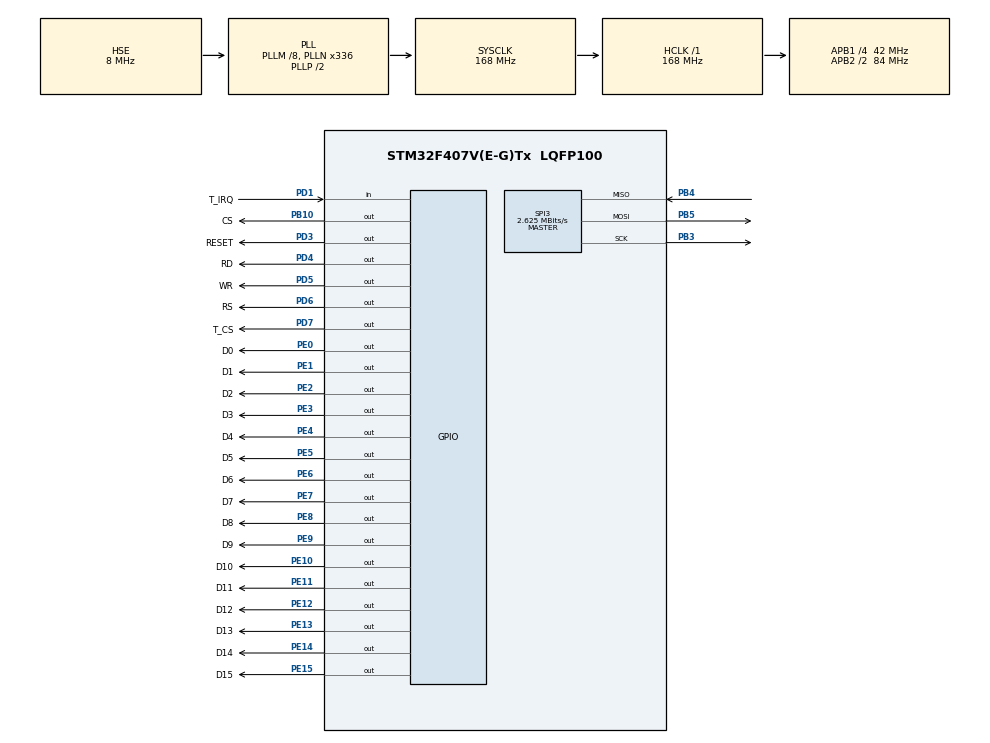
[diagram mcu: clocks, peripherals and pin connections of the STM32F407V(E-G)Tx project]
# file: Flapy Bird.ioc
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Mcu.Family=STM32F4
Mcu.Name=STM32F407V(E-G)Tx
Mcu.Package=LQFP100
NVIC.PriorityGroup=NVIC_PRIORITYGROUP_0
PB10.GPIO_Label=CS
PB10.GPIO_Speed=GPIO_SPEED_FREQ_VERY_HIGH
PB10.PinState=GPIO_PIN_SET
PB10.Signal=GPIO_Output
PB3.Mode=Full_Duplex_Master
PB3.Signal=SPI3_SCK
PB4.Mode=Full_Duplex_Master
PB4.Signal=SPI3_MISO
PB5.Mode=Full_Duplex_Master
PB5.Signal=SPI3_MOSI
PD1.GPIO_Label=T_IRQ
PD1.Signal=GPIO_Input
PD3.GPIO_Label=RESET
PD3.GPIO_Speed=GPIO_SPEED_FREQ_VERY_HIGH
PD3.PinState=GPIO_PIN_SET
PD3.Signal=GPIO_Output
PD4.GPIO_Label=RD
PD4.GPIO_Speed=GPIO_SPEED_FREQ_VERY_HIGH
PD4.PinState=GPIO_PIN_SET
PD4.Signal=GPIO_Output
PD5.GPIO_Label=WR
PD5.GPIO_Speed=GPIO_SPEED_FREQ_VERY_HIGH
PD5.PinState=GPIO_PIN_SET
PD5.Signal=GPIO_Output
PD6.GPIO_Label=RS
PD6.GPIO_Speed=GPIO_SPEED_FREQ_VERY_HIGH
PD6.PinState=GPIO_PIN_SET
PD6.Signal=GPIO_Output
PD7.GPIO_Label=T_CS
PD7.GPIO_Speed=GPIO_SPEED_FREQ_VERY_HIGH
PD7.PinState=GPIO_PIN_SET
PD7.Signal=GPIO_Output
PE0.GPIO_Label=D0
PE0.GPIO_Speed=GPIO_SPEED_FREQ_VERY_HIGH
PE0.PinState=GPIO_PIN_SET
PE0.Signal=GPIO_Output
PE1.GPIO_Label=D1
PE1.GPIO_Speed=GPIO_SPEED_FREQ_VERY_HIGH
PE1.PinState=GPIO_PIN_SET
PE1.Signal=GPIO_Output
PE10.GPIO_Label=D10
PE10.GPIO_Speed=GPIO_SPEED_FREQ_VERY_HIGH
PE10.PinState=GPIO_PIN_SET
PE10.Signal=GPIO_Output
PE11.GPIO_Label=D11
PE11.GPIO_Speed=GPIO_SPEED_FREQ_VERY_HIGH
PE11.PinState=GPIO_PIN_SET
PE11.Signal=GPIO_Output
PE12.GPIO_Label=D12
PE12.GPIO_Speed=GPIO_SPEED_FREQ_VERY_HIGH
PE12.PinState=GPIO_PIN_SET
PE12.Signal=GPIO_Output
PE13.GPIO_Label=D13
PE13.GPIO_Speed=GPIO_SPEED_FREQ_VERY_HIGH
PE13.PinState=GPIO_PIN_SET
PE13.Signal=GPIO_Output
PE14.GPIO_Label=D14
PE14.GPIO_Speed=GPIO_SPEED_FREQ_VERY_HIGH
PE14.PinState=GPIO_PIN_SET
PE14.Signal=GPIO_Output
PE15.GPIO_Label=D15
PE15.GPIO_Speed=GPIO_SPEED_FREQ_VERY_HIGH
PE15.PinState=GPIO_PIN_SET
PE15.Signal=GPIO_Output
PE2.GPIO_Label=D2
PE2.GPIO_Speed=GPIO_SPEED_FREQ_VERY_HIGH
PE2.PinState=GPIO_PIN_SET
PE2.Signal=GPIO_Output
PE3.GPIO_Label=D3
PE3.GPIO_Speed=GPIO_SPEED_FREQ_VERY_HIGH
PE3.PinState=GPIO_PIN_SET
PE3.Signal=GPIO_Output
PE4.GPIO_Label=D4
PE4.GPIO_Speed=GPIO_SPEED_FREQ_VERY_HIGH
PE4.PinState=GPIO_PIN_SET
PE4.Signal=GPIO_Output
PE5.GPIO_Label=D5
PE5.GPIO_Speed=GPIO_SPEED_FREQ_VERY_HIGH
PE5.PinState=GPIO_PIN_SET
PE5.Signal=GPIO_Output
PE6.GPIO_Label=D6
PE6.GPIO_Speed=GPIO_SPEED_FREQ_VERY_HIGH
PE6.PinState=GPIO_PIN_SET
PE6.Signal=GPIO_Output
PE7.GPIO_Label=D7
PE7.GPIO_Speed=GPIO_SPEED_FREQ_VERY_HIGH
PE7.PinState=GPIO_PIN_SET
PE7.Signal=GPIO_Output
PE8.GPIO_Label=D8
PE8.GPIO_Speed=GPIO_SPEED_FREQ_VERY_HIGH
PE8.PinState=GPIO_PIN_SET
PE8.Signal=GPIO_Output
PE9.GPIO_Label=D9
PE9.GPIO_Speed=GPIO_SPEED_FREQ_VERY_HIGH
PE9.PinState=GPIO_PIN_SET
PE9.Signal=GPIO_Output
PH0-OSC_IN.Mode=HSE-External-Oscillator
PH0-OSC_IN.Signal=RCC_OSC_IN
PH1-OSC_OUT.Mode=HSE-External-Oscillator
PH1-OSC_OUT.Signal=RCC_OSC_OUT
ProjectManager.HeapSize=0x200
ProjectManager.StackSize=0x400
ProjectManager.TargetToolchain=STM32CubeIDE
RCC.48MHZClocksFreq_Value=48000000
RCC.AHBFreq_Value=168000000
RCC.APB1CLKDivider=RCC_HCLK_DIV4
RCC.APB1Freq_Value=42000000
RCC.APB1TimFreq_Value=84000000
RCC.APB2CLKDivider=RCC_HCLK_DIV2
RCC.APB2Freq_Value=84000000
RCC.APB2TimFreq_Value=168000000
RCC.CortexFreq_Value=168000000
RCC.HCLKFreq_Value=168000000
RCC.HSE_VALUE=8000000
RCC.HSI_VALUE=16000000
RCC.PLLM=8
RCC.PLLN=336
RCC.PLLQ=7
RCC.PLLSourceVirtual=RCC_PLLSOURCE_HSE
RCC.SYSCLKFreq_VALUE=168000000
RCC.SYSCLKSource=RCC_SYSCLKSOURCE_PLLCLK
RCC.VCOOutputFreq_Value=336000000
SPI3.BaudRatePrescaler=SPI_BAUDRATEPRESCALER_16
SPI3.CalculateBaudRate=2.625 MBits/s
SPI3.Direction=SPI_DIRECTION_2LINES
SPI3.Mode=SPI_MODE_MASTER
SPI3.VirtualType=VM_MASTER
board=STM32F407G-DISC1

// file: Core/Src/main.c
/* USER CODE BEGIN Header */
/**
  ******************************************************************************
  * @file           : main.c
  * @brief          : Main program body
  ******************************************************************************
  * @attention
  *
  * Copyright (c) 2022 STMicroelectronics.
  * All rights reserved.
  *
  * This software is licensed under terms that can be found in the LICENSE file
  * in the root directory of this software component.
  * If no LICENSE file comes with this software, it is provided AS-IS.
  *
  ******************************************************************************
  */
/* USER CODE END Header */
#include "main.h"

/* USER CODE BEGIN Includes */
#include "image.h"
#include "line.h"
#include "button.h"
#include "stm32f4xx_hal.h"
#include "xpt2046.h"
#include "ssd1289.h"
#include "stdlib.h"

#define WIDTH_PILL		40 	  /*Chieu rong ong khoi*/

#define HIDDENT			50	  /*Phan ong khoi bi an ben trai*/

#define HEIGH_SCREEN 	215	  /*Chieu cao man hinh hien thi chim*/

#define DISTANCE		60		/*Khoang cach giua hai ong khoi*/

#define YES				1
#define NO				0

#define WIDTH_BIRD		26	/*Chieu rong cua hinh chim*/
#define HEIGH_BIRD 	 	19	/*Chieu cao cua hinh chim*/

#define WIDTH_LINE		320
#define HEIGH_LINE		5

#define BIRD_X			110		/*toa do X cua chim*/
#define BIRD_Y			100

#define X_COM       	136

#define FALLING			0		/* Bay xuong */
#define RISING			1		/* Bay len	*/

#define X_SCORE			75
#define Y_SCORE			223
#define X_H_SCORE		180

#define X_GAME_OVER		90
#define Y_GAME_OVER		40

#define X_GAME_SCORE	95
#define Y_GAME_SCORE	70

#define X_SOCRE_END		165
#define SCORED			69

#define X_BUT			140
#define Y_BUT			100

SPI_HandleTypeDef hspi3;

uint16_t list_heigh[15];
/* USER CODE END Includes */

SPI_HandleTypeDef hspi3;

void SystemClock_Config(void);
static void MX_GPIO_Init(void);
static void MX_SPI3_Init(void);
/* USER CODE BEGIN PFP */
void Init_Game();
void Draw_Pillar(int16_t x, uint16_t heigh);
void Init_Heigh_Pill();
void Bird_Fly(uint16_t y);
void Convert_To_String(uint16_t val);
void Print_Score(uint16_t, uint16_t x_score, uint16_t color);
void Game_Over();
int Button_Press(uint16_t x, uint16_t y, uint16_t width, uint16_t heigh);
void Welcome();
void Click_Here();
uint16_t score = 0; /*Diem so*/
uint16_t high_score = 0;

int16_t x1 = 0, x2 = 0;	/*Toa do x cua 2 ong khoi xuat hien tren man hinh*/

uint16_t heigh_pill1 = 0;	/*Chieu cao ong khoi khi bat day game*/
uint16_t heigh_pill2 = 0;

int16_t y_bird = 0;

uint16_t x_com = 0;
uint16_t h_com = 0;
/* USER CODE END PFP */

int main(void)
{

  /* MCU Configuration--------------------------------------------------------*/

  /* Reset of all peripherals, Initializes the Flash interface and the Systick. */
  HAL_Init();

  /* Configure the system clock */
  SystemClock_Config();

  /* Initialize all configured peripherals */
  MX_GPIO_Init();
  MX_SPI3_Init();
  /* USER CODE BEGIN 2 */
  SSD1289_Init();
  SSD1289_Clear_Screen();

//  Init_Game(); /*Khoi tao game*/

  Welcome();

  int c = 0;
  int score_old = 0;
  int game_over=NO;

  while (1)
  {
	  if(!Read_IRQ()){
		  if((game_over==NO)||Button_Press(X_BUT, Y_BUT, BUT_WIDTH, BUT_HEIGH)){
		  	  score_old = score;
		  	  c = 0;
			  Init_Game();

			  if(score_old > high_score){
			  		high_score = score_old;
			  		Print_Score(high_score, 300, Hscolor);
			  }
			  while(1){
					  if(x1 == 70){	/*Neu ong khoi 1 di qua toa to 110 thi tao ong khoi 2*/
						  x2 = 320;
						  heigh_pill2 = list_heigh[rand()%15];
					  }
					  if(x2 == 70){   /*Neu ong khoi di qua toa do 110 thi tao them ong khoi*/
						  x1 = 320;
						  heigh_pill1 = list_heigh[rand()%15];
					  }

					  /*Ve ong khoi*/
					  Draw_Pillar(x1, heigh_pill1);
					  Draw_Pillar(x2, heigh_pill2);

					  if(!Read_IRQ()){	/*Neu co tin hieu cam ung*/
						  y_bird -= 5;
						  c = 1;
					  }
					  else if(c){	// Neu chua cham lan nao thi chim van dung yen
						  y_bird += 2;
					  }

					  if(x1 > 70){
						  x_com = x1;
						  h_com = heigh_pill1-1;
					  }
					  else{
						  x_com = x2;
						  h_com = heigh_pill2-1;
					  }
					  if(((x_com==X_COM)&&((y_bird<=h_com)||(y_bird+HEIGH_BIRD>=(h_com+DISTANCE))))||
						((y_bird<=h_com+1)&&( ((X_COM>=x_com)&&
						(X_COM <= (x_com+WIDTH_PILL)))||((BIRD_X>=x_com)&&(BIRD_X<=(x_com+WIDTH_PILL)))))||
						(((y_bird+HEIGH_BIRD)>=(h_com+DISTANCE))&&
						(((X_COM>=x_com)&&(X_COM <= (x_com+WIDTH_PILL)))||((BIRD_X>=x_com)&&
						(BIRD_X<=(x_com+WIDTH_PILL)))))||
						  ((y_bird+HEIGH_BIRD)>=HEIGH_SCREEN)){

						  game_over = YES;
						  Game_Over();
						  break;
					  }

					  if(x1 == SCORED || x2 == SCORED){
						  score += 1;
						  Print_Score(score, X_SCORE, Blue);
					  }

					  if(c){
						  Bird_Fly(y_bird);
						  x1--;
						  x2--;
					  }
					  HAL_Delay(10);
			  }
	  	  }
		}
  	  }

}

void Init_Heigh_Pill(){
	int i =0;
	int value = 0;
	for(i=0; i<15; i++){
		list_heigh[i] = 150-value;
		value += 10;
	}

}

void Welcome(){
	SSD1289_Write_Back_Ground(Black);
	SSD1289_Print_String(50, 40, 2, 1, 4, White, Black, "Flapy Bird");
	SSD1289_Print_String(40, 185, 1, 1, 2, White, Black, "Click to enter the game!");
}
void Draw_Pillar(int16_t x, uint16_t heigh){
	if(x < 321){
	/*Xoa ong khoi cu*/
		int16_t x1 = x+WIDTH_PILL+1;

		SSD1289_Draw_V_Line(x1, 1, heigh, Background);				/*Xoa ong khoi top*/
		SSD1289_Draw_V_Line(x1, 1+heigh+DISTANCE, HEIGH_SCREEN, Background);   /*Xoa ong khoi bot*/

	/*Ve ong khoi moi*/
		SSD1289_Draw_V_Line(x, 1, heigh, Green);
		SSD1289_Draw_V_Line(x, 1+heigh+DISTANCE, HEIGH_SCREEN, Green);
	}
}

void Bird_Fly(uint16_t y){
	SSD1289_Fill_Color(BIRD_X, y-3, (BIRD_X+WIDTH_BIRD+5), (y+HEIGH_BIRD+5), Background);
	HAL_Delay(5);
	SSD1289_Write_Pic_Coor(BIRD_X, y, WIDTH_BIRD, HEIGH_BIRD, bird_image);
}

void Print_Score(uint16_t val, uint16_t x_score, uint16_t color){
	uint16_t a = 0, b = 0;
	char string[3] = {0, 0, '\0'};
	/*Xoa diem cu*/
	SSD1289_Fill_Color(x_score, Y_SCORE, x_score+20, 239, Yellow);
	if(val < 10){
		SSD1289_Print_Char(x_score, Y_SCORE, 2, color, Yellow, (val+48));
	}
	else{
		a = val%10 + 48;	/*Hang don vi*/
		b = val/10	+ 48;	/*Hang chuc*/
		string[0] = b;
		string[1] = a;
		SSD1289_Print_String(x_score, Y_SCORE, 1, 1, 2, color, Yellow, string);
	}

}

void Game_Over(){

	SSD1289_Fill_Color(X_GAME_OVER-40, Y_GAME_OVER-10, X_GAME_OVER+120, Y_GAME_OVER+70, Background);
	SSD1289_Print_String(X_GAME_OVER, Y_GAME_OVER, 2, 2, 3, Red, Background, "Game Over");
	SSD1289_Print_String(X_GAME_SCORE, Y_GAME_SCORE, 2, 2, 2, Red, Background, "Score: ");
	uint16_t a = 0, b = 0;
	char string[3] = {0, 0, '\0'};
	if(score < 10){
		SSD1289_Print_Char(X_SOCRE_END, Y_GAME_SCORE, 2, Red, Background, (score+48));
	}
	else{
		a = score%10 + 48;	/*Hang don vi*/
		b = score/10	+ 48;	/*Hang chuc*/
		string[0] = b;
		string[1] = a;
		SSD1289_Print_String(X_SOCRE_END, Y_GAME_SCORE, 2, 2, 2, Red, Background, string);
	}

	HAL_Delay(1500);
	SSD1289_Write_Pic_Coor(X_BUT, Y_BUT, BUT_WIDTH, BUT_HEIGH, button);
}

int Button_Press(uint16_t x, uint16_t y, uint16_t width, uint16_t heigh){
	uint16_t lcd_x = 0, lcd_y = 0;
	if(!Read_IRQ()){
		lcd_x = XPT2046_Calibrate(XPT2046_Read(cmd_X), 1);
		lcd_y = XPT2046_Calibrate(XPT2046_Read(cmd_Y), 0);

		if(((lcd_x>x)&&(lcd_x<(x+width)))&&((lcd_y>y)&&(lcd_y<(y+heigh))))
			return YES;
		else
			return NO;
	}
	return NO;
}

void Init_Game(){
	  Init_Heigh_Pill();
	  score = 0;
	  x1 = 320;
	  x2 = 600;	/*Toa do x cua 2 ong khoi xuat hien tren man hinh*/
	  heigh_pill1 = list_heigh[rand()%15];	/*Chieu cao ong khoi khi bat day game*/
	  heigh_pill2 = 100;
	  y_bird = BIRD_Y;
	  x_com = 320;
	  h_com = heigh_pill1;
	  SSD1289_Write_Back_Ground(Background);
	  SSD1289_Write_Pic_Coor(BIRD_X, BIRD_Y, WIDTH_BIRD, HEIGH_BIRD, bird_image);
	  SSD1289_Write_Pic_Coor(0, HEIGH_SCREEN, WIDTH_LINE, HEIGH_LINE, line);
	  SSD1289_Fill_Color(0, HEIGH_SCREEN+5, 319, 239, Yellow);
	  SSD1289_Print_String(10, HEIGH_SCREEN+8, 1, 1, 2, Blue, Yellow, "Score: ");
	  Print_Score(score, X_SCORE, Blue);
	  SSD1289_Print_String(X_H_SCORE, HEIGH_SCREEN+8, 1, 1, 2, Hscolor, Yellow, "High Score: ");
	  Print_Score(high_score, 300, Hscolor);
}

void SystemClock_Config(void)
{
  RCC_OscInitTypeDef RCC_OscInitStruct = {0};
  RCC_ClkInitTypeDef RCC_ClkInitStruct = {0};

  /** Configure the main internal regulator output voltage
  */
  __HAL_RCC_PWR_CLK_ENABLE();
  __HAL_PWR_VOLTAGESCALING_CONFIG(PWR_REGULATOR_VOLTAGE_SCALE1);

  /** Initializes the RCC Oscillators according to the specified parameters
  * in the RCC_OscInitTypeDef structure.
  */
  RCC_OscInitStruct.OscillatorType = RCC_OSCILLATORTYPE_HSE;
  RCC_OscInitStruct.HSEState = RCC_HSE_ON;
  RCC_OscInitStruct.PLL.PLLState = RCC_PLL_ON;
  RCC_OscInitStruct.PLL.PLLSource = RCC_PLLSOURCE_HSE;
  RCC_OscInitStruct.PLL.PLLM = 8;
  RCC_OscInitStruct.PLL.PLLN = 336;
  RCC_OscInitStruct.PLL.PLLP = RCC_PLLP_DIV2;
  RCC_OscInitStruct.PLL.PLLQ = 7;
  if (HAL_RCC_OscConfig(&RCC_OscInitStruct) != HAL_OK)
  {
    Error_Handler();
  }

  /** Initializes the CPU, AHB and APB buses clocks
  */
  RCC_ClkInitStruct.ClockType = RCC_CLOCKTYPE_HCLK|RCC_CLOCKTYPE_SYSCLK
                              |RCC_CLOCKTYPE_PCLK1|RCC_CLOCKTYPE_PCLK2;
  RCC_ClkInitStruct.SYSCLKSource = RCC_SYSCLKSOURCE_PLLCLK;
  RCC_ClkInitStruct.AHBCLKDivider = RCC_SYSCLK_DIV1;
  RCC_ClkInitStruct.APB1CLKDivider = RCC_HCLK_DIV4;
  RCC_ClkInitStruct.APB2CLKDivider = RCC_HCLK_DIV2;

  if (HAL_RCC_ClockConfig(&RCC_ClkInitStruct, FLASH_LATENCY_5) != HAL_OK)
  {
    Error_Handler();
  }
}

static void MX_SPI3_Init(void)
{

  /* SPI3 parameter configuration*/
  hspi3.Instance = SPI3;
  hspi3.Init.Mode = SPI_MODE_MASTER;
  hspi3.Init.Direction = SPI_DIRECTION_2LINES;
  hspi3.Init.DataSize = SPI_DATASIZE_8BIT;
  hspi3.Init.CLKPolarity = SPI_POLARITY_LOW;
  hspi3.Init.CLKPhase = SPI_PHASE_1EDGE;
  hspi3.Init.NSS = SPI_NSS_SOFT;
  hspi3.Init.BaudRatePrescaler = SPI_BAUDRATEPRESCALER_16;
  hspi3.Init.FirstBit = SPI_FIRSTBIT_MSB;
  hspi3.Init.TIMode = SPI_TIMODE_DISABLE;
  hspi3.Init.CRCCalculation = SPI_CRCCALCULATION_DISABLE;
  hspi3.Init.CRCPolynomial = 10;
  if (HAL_SPI_Init(&hspi3) != HAL_OK)
  {
    Error_Handler();
  }

}

static void MX_GPIO_Init(void)
{
  GPIO_InitTypeDef GPIO_InitStruct = {0};

  /* GPIO Ports Clock Enable */
  __HAL_RCC_GPIOE_CLK_ENABLE();
  __HAL_RCC_GPIOH_CLK_ENABLE();
  __HAL_RCC_GPIOB_CLK_ENABLE();
  __HAL_RCC_GPIOD_CLK_ENABLE();

  /*Configure GPIO pin Output Level */
  HAL_GPIO_WritePin(GPIOE, D2_Pin|D3_Pin|D4_Pin|D5_Pin
                          |D6_Pin|D7_Pin|D8_Pin|D9_Pin
                          |D10_Pin|D11_Pin|D12_Pin|D13_Pin
                          |D14_Pin|D15_Pin|D0_Pin|D1_Pin, GPIO_PIN_SET);

  /*Configure GPIO pin Output Level */
  HAL_GPIO_WritePin(CS_GPIO_Port, CS_Pin, GPIO_PIN_SET);

  /*Configure GPIO pin Output Level */
  HAL_GPIO_WritePin(GPIOD, RESET_Pin|RD_Pin|WR_Pin|RS_Pin
                          |T_CS_Pin, GPIO_PIN_SET);

  /*Configure GPIO pins : D2_Pin D3_Pin D4_Pin D5_Pin
                           D6_Pin D7_Pin D8_Pin D9_Pin
                           D10_Pin D11_Pin D12_Pin D13_Pin
                           D14_Pin D15_Pin D0_Pin D1_Pin */
  GPIO_InitStruct.Pin = D2_Pin|D3_Pin|D4_Pin|D5_Pin
                          |D6_Pin|D7_Pin|D8_Pin|D9_Pin
                          |D10_Pin|D11_Pin|D12_Pin|D13_Pin
                          |D14_Pin|D15_Pin|D0_Pin|D1_Pin;
  GPIO_InitStruct.Mode = GPIO_MODE_OUTPUT_PP;
  GPIO_InitStruct.Pull = GPIO_NOPULL;
  GPIO_InitStruct.Speed = GPIO_SPEED_FREQ_VERY_HIGH;
  HAL_GPIO_Init(GPIOE, &GPIO_InitStruct);

  /*Configure GPIO pin : CS_Pin */
  GPIO_InitStruct.Pin = CS_Pin;
  GPIO_InitStruct.Mode = GPIO_MODE_OUTPUT_PP;
  GPIO_InitStruct.Pull = GPIO_NOPULL;
  GPIO_InitStruct.Speed = GPIO_SPEED_FREQ_VERY_HIGH;
  HAL_GPIO_Init(CS_GPIO_Port, &GPIO_InitStruct);

  /*Configure GPIO pin : T_IRQ_Pin */
  GPIO_InitStruct.Pin = T_IRQ_Pin;
  GPIO_InitStruct.Mode = GPIO_MODE_INPUT;
  GPIO_InitStruct.Pull = GPIO_NOPULL;
  HAL_GPIO_Init(T_IRQ_GPIO_Port, &GPIO_InitStruct);

  /*Configure GPIO pins : RESET_Pin RD_Pin WR_Pin RS_Pin
                           T_CS_Pin */
  GPIO_InitStruct.Pin = RESET_Pin|RD_Pin|WR_Pin|RS_Pin
                          |T_CS_Pin;
  GPIO_InitStruct.Mode = GPIO_MODE_OUTPUT_PP;
  GPIO_InitStruct.Pull = GPIO_NOPULL;
  GPIO_InitStruct.Speed = GPIO_SPEED_FREQ_VERY_HIGH;
  HAL_GPIO_Init(GPIOD, &GPIO_InitStruct);

}

void Error_Handler(void)
{
  __disable_irq();
  while (1)
  {
  }
}
